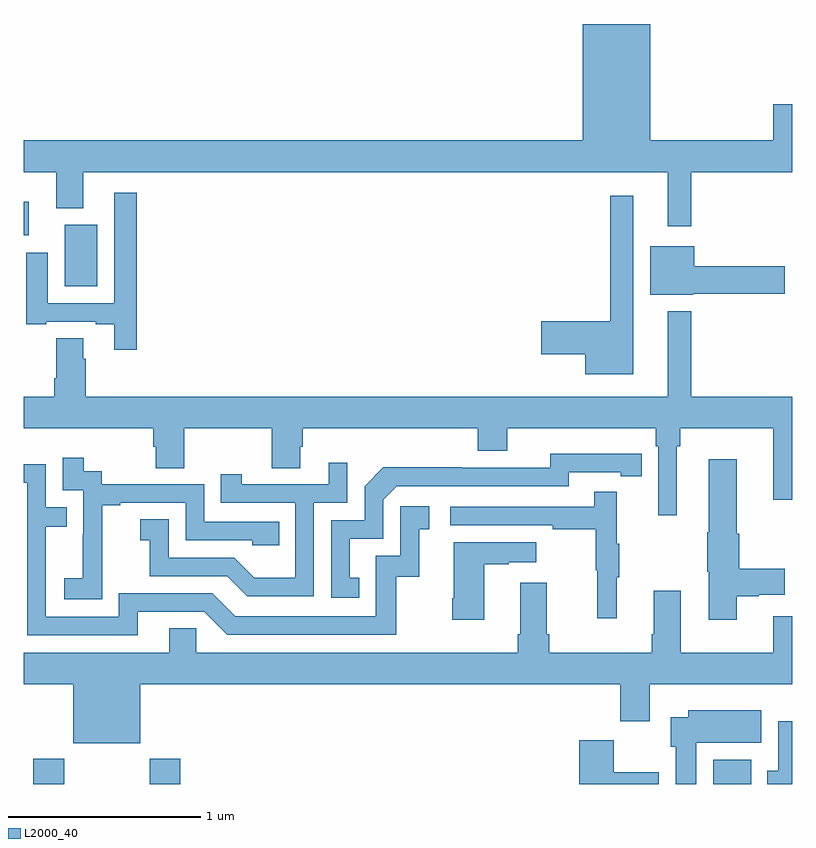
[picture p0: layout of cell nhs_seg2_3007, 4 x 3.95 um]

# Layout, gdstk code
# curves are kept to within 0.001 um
import gdstk
lib = gdstk.Library(unit=1e-6, precision=1e-09)
def R(c, l, rs):  # rectangles x0, y0, x1, y1
    for r in rs: c.add(gdstk.rectangle(r[:2], r[2:], *l))
def P(c, l, *ps):  # polygons
    for p in ps: c.add(gdstk.Polygon(p, *l))
L2000_40 = (2000, 40)

nhs_seg2_3007 = lib.new_cell('nhs_seg2_3007')
R(nhs_seg2_3007, L2000_40, [(269.051,629.8,269.211,629.932), (269.656,629.8,269.816,629.932), (272.589,629.8,272.785,629.926), (269.213,632.39,269.383,632.71), (269,632.654,269.026,632.83)])
P(nhs_seg2_3007, L2000_40, [(272.473,632.984),(273,632.984),(273,633.337),(272.9,633.337),(272.9,633.148),(272.26,633.148),(272.26,633.754),(271.91,633.754),(271.91,633.148),(269,633.148),(269,632.984),(269.171,632.984),(269.171,632.795),(269.311,632.795),(269.311,632.984),(272.351,632.984),(272.351,632.703),(272.473,632.703)],
  [(269.588,632.875),(269.472,632.875),(269.472,632.301),(269.125,632.301),(269.125,632.563),(269.015,632.563),(269.015,632.193),(269.119,632.193),(269.119,632.205),(269.375,632.205),(269.375,632.193),(269.471,632.193),(269.471,632.058),(269.588,632.058)],
  [(272.173,632.86),(272.052,632.86),(272.052,632.207),(271.692,632.207),(271.692,632.036),(271.922,632.036),(271.922,631.931),(272.173,631.931)],
  [(272.484,632.351),(272.959,632.351),(272.959,632.493),(272.488,632.493),(272.488,632.599),(272.261,632.599),(272.261,632.345),(272.484,632.345)],
  [(272.398,631.556),(272.417,631.556),(272.417,631.652),(272.9,631.652),(272.9,631.278),(273,631.278),(273,631.816),(272.473,631.816),(272.473,632.26),(272.351,632.26),(272.351,631.816),(269.324,631.816),(269.324,632.012),(269.311,632.012),(269.311,632.12),(269.171,632.12),(269.171,631.912),(269.159,631.912),(269.159,631.816),(269,631.816),(269,631.652),(269.675,631.652),(269.675,631.554),(269.687,631.554),(269.687,631.444),(269.835,631.444),(269.835,631.652),(270.292,631.652),(270.292,631.444),(270.439,631.444),(270.439,631.554),(270.452,631.554),(270.452,631.652),(271.364,631.652),(271.364,631.535),(271.516,631.535),(271.516,631.652),(272.288,631.652),(272.288,631.556),(272.301,631.556),(272.301,631.197),(272.398,631.197)],
  [(270.746,630.873),(270.697,630.873),(270.697,631.077),(270.87,631.077),(270.87,631.278),(270.942,631.35),(271.836,631.35),(271.836,631.422),(272.108,631.422),(272.108,631.402),(272.216,631.402),(272.216,631.518),(271.74,631.519),(271.74,631.446),(271.28,631.446),(271.28,631.448),(270.872,631.448),(270.774,631.35),(270.774,631.173),(270.6,631.173),(270.6,630.768),(270.746,630.768)],
  [(269.409,630.967),(269.408,630.967),(269.408,631.251),(269.503,631.251),(269.503,631.263),(269.844,631.263),(269.844,631.068),(270.189,631.068),(270.189,631.041),(270.329,631.041),(270.329,631.164),(269.94,631.164),(269.94,631.359),(269.406,631.359),(269.406,631.428),(269.314,631.428),(269.314,631.498),(269.205,631.498),(269.205,631.329),(269.31,631.329),(269.31,631.1),(269.309,631.1),(269.309,630.871),(269.211,630.871),(269.211,630.761),(269.409,630.761)],
  [(272.71,630.778),(272.826,630.778),(272.826,630.785),(272.959,630.785),(272.959,630.92),(272.723,630.92),(272.723,631.103),(272.71,631.103),(272.71,631.489),(272.564,631.489),(272.564,631.109),(272.557,631.109),(272.557,630.903),(272.564,630.903),(272.564,630.654),(272.71,630.654)],
  [(270.51,631.263),(270.684,631.263),(270.684,631.471),(270.587,631.471),(270.587,631.359),(270.136,631.359),(270.136,631.411),(270.025,631.411),(270.025,631.263),(270.414,631.263),(270.414,630.874),(270.2,630.874),(270.096,630.978),(269.754,630.978),(269.754,631.177),(269.607,631.177),(269.607,631.067),(269.656,631.067),(269.656,630.882),(270.059,630.882),(270.164,630.777),(270.51,630.777)],
  [(269.593,630.696),(269.94,630.696),(270.06,630.576),(270.94,630.576),(270.94,630.879),(271.058,630.879),(271.058,631.125),(271.111,631.125),(271.111,631.246),(270.96,631.246),(270.96,630.987),(270.831,630.987),(270.831,630.672),(270.102,630.672),(269.982,630.792),(269.496,630.792),(269.496,630.669),(269.115,630.669),(269.115,631.138),(269.225,631.138),(269.225,631.239),(269.115,631.239),(269.115,631.464),(269,631.464),(269,631.368),(269.019,631.368),(269.019,630.573),(269.593,630.573)],
  [(272.087,630.875),(272.098,630.875),(272.098,631.049),(272.087,631.049),(272.087,631.321),(271.969,631.321),(271.969,631.242),(271.221,631.242),(271.221,631.146),(271.753,631.146),(271.753,631.126),(271.977,631.126),(271.977,630.912),(271.984,630.912),(271.984,630.663),(272.087,630.663)],
  [(271.396,630.943),(271.523,630.943),(271.523,630.953),(271.666,630.953),(271.666,631.057),(271.238,631.057),(271.238,630.766),(271.231,630.766),(271.231,630.654),(271.396,630.654)],
  [(269.608,630.32),(272.105,630.32),(272.105,630.126),(272.257,630.126),(272.257,630.32),(273,630.32),(273,630.673),(272.9,630.673),(272.9,630.484),(272.419,630.484),(272.419,630.805),(272.279,630.805),(272.279,630.58),(272.267,630.58),(272.267,630.484),(271.736,630.484),(271.736,630.58),(271.723,630.58),(271.723,630.847),(271.583,630.847),(271.583,630.58),(271.571,630.58),(271.571,630.484),(269.898,630.484),(269.898,630.611),(269.759,630.611),(269.759,630.484),(269,630.484),(269,630.32),(269.258,630.32),(269.258,630.011),(269.608,630.011)],
  [(272.5,630.014),(272.839,630.014),(272.839,630.184),(272.459,630.184),(272.459,630.148),(272.366,630.148),(272.366,629.994),(272.393,629.994),(272.393,629.8),(272.5,629.8)],
  [(273,630.126),(272.927,630.126),(272.927,629.868),(272.87,629.868),(272.87,629.8),(273,629.8)],
  [(272.305,629.86),(272.07,629.86),(272.07,630.028),(271.892,630.028),(271.892,629.8),(272.305,629.8)])

lib.write_gds('nhs_seg2_3007.gds')
